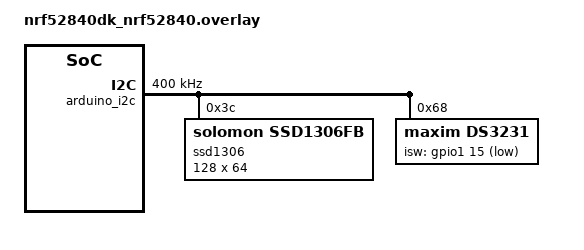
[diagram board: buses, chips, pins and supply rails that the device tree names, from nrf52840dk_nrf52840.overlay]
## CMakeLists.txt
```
# SPDX-License-Identifier: Apache-2.0

cmake_minimum_required(VERSION 3.20.0)

# This command is necessary to use the display SSD1306
set(SHIELD ssd1306_128x64)

find_package(Zephyr REQUIRED HINTS $ENV{ZEPHYR_BASE})
project(ble_watch)

# Global CMake variables are set here

# This is necessary for Sonarlint tools
# If enabled, generates a compile_commands.json file containing the exact compiler calls for all 
# translation units of the project in machine-readable form.
# Note: This option currently does not work well in combination with the UNITY_BUILD target 
# property or the CMAKE_UNITY_BUILD variable.
set(CMAKE_EXPORT_COMPILE_COMMANDS ON)

set (APP_SOURCES 
   src/app/src/device_information_service.c
   src/app/src/display_ssd1306.c
   src/app/src/gatt_central.c
   src/app/src/rtc_ds3231.c
)

target_sources(app PRIVATE 
   src/main.c
   ${APP_SOURCES}
)

target_include_directories(app PRIVATE
   src/app/inc
)
```

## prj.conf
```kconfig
# Enable GPIO
CONFIG_GPIO=y

# Enable the I2C driver
CONFIG_I2C=y

# Enable logs
CONFIG_LOG=y

# Enable timestamping feature
CONFIG_LOG_BACKEND_FORMAT_TIMESTAMP=y

# Enable coloring of logs
CONFIG_LOG_BACKEND_SHOW_COLOR=y

# configurations for SSD1306 display
CONFIG_SSD1306_REVERSE_MODE=y

CONFIG_LV_Z_MEM_POOL_NUMBER_BLOCKS=8

CONFIG_DISPLAY=y
CONFIG_DISPLAY_LOG_LEVEL_ERR=y

CONFIG_LVGL=y
CONFIG_LV_MEM_CUSTOM=y
CONFIG_LV_USE_LOG=y
CONFIG_LV_USE_LABEL=y
CONFIG_LV_USE_BTN=y
CONFIG_LV_USE_IMG=y
CONFIG_LV_FONT_MONTSERRAT_12=y
CONFIG_LV_FONT_MONTSERRAT_14=n

# Enable Bluetooth drivers
CONFIG_NCS_SAMPLES_DEFAULTS=y
CONFIG_BT=y
CONFIG_BT_PERIPHERAL=y
CONFIG_BT_DEVICE_NAME="BLE Watch"

# Enable Baterry Service
CONFIG_BT_BAS=y

# RTC DS3231
CONFIG_COUNTER=y
CONFIG_COUNTER_MAXIM_DS3231=y
CONFIG_COUNTER_INIT_PRIORITY=65

# Minimal libc doesn't have strftime()
CONFIG_NEWLIB_LIBC=y

# Optional step that syncs RTC and local clock.  Don't enable this if
# your RTC has already been synchronized and you want to keep its
# setting.
CONFIG_APP_SET_ALIGNED_CLOCK=y

# Device Information Service
CONFIG_BT_DIS=y
CONFIG_BT_DIS_PNP=n
CONFIG_BT_DIS_MODEL="BLE Watch Model V1"
CONFIG_BT_DIS_MANUF="Charles Dias"
CONFIG_BT_DIS_SERIAL_NUMBER=y
CONFIG_BT_DIS_FW_REV=y
CONFIG_BT_DIS_HW_REV=y
CONFIG_BT_DIS_SW_REV=y
CONFIG_BT_DIS_SERIAL_NUMBER_STR="Serial Number"
CONFIG_BT_DIS_FW_REV_STR="Firmware Revision"
CONFIG_BT_DIS_HW_REV_STR="Hardware Revision"
CONFIG_BT_DIS_SW_REV_STR="Software Revision"

# Below is setup to let DIS information be read from settings
CONFIG_BT_SETTINGS=y
CONFIG_SETTINGS_RUNTIME=y
CONFIG_SETTINGS=y
CONFIG_SETTINGS_NONE=y

CONFIG_BT_DIS_SETTINGS=y
CONFIG_BT_DIS_STR_MAX=21

# Some command handlers require a large stack.
CONFIG_SYSTEM_WORKQUEUE_STACK_SIZE=2304
CONFIG_MAIN_STACK_SIZE=2048
```

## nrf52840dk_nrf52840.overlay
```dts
// To get started, press Ctrl+Space to bring up the completion menu and view the available nodes.

// You can also use the buttons in the sidebar to perform actions on nodes.
// Actions currently available include:

// * Enabling / disabling the node
// * Adding the bus to a bus
// * Removing the node
// * Connecting ADC channels

// For more help, browse the DeviceTree documentation at https://docs.zephyrproject.org/latest/guides/dts/index.html
// You can also visit the nRF DeviceTree extension documentation at https://nrfconnect.github.io/vscode-nrf-connect/devicetree/nrfdevicetree.html

&arduino_i2c {
   compatible = "nordic,nrf-twim";
   status = "okay";
   clock-frequency = <I2C_BITRATE_FAST>;
   zephyr,concat-buf-size = <4096>;

   ssd1306: ssd1306@3c {
      compatible = "solomon,ssd1306fb";
      reg = <0x3c>; //0x3c is the i2c address of the SSD1306 aIC.
      width = <128>;
      height = <64>; // Change from '32' to '64' when using the 128x64 pixel version.
      segment-offset = <0>;
      page-offset = <0>;
      display-offset = <0>;
      multiplex-ratio = <63>; //change from '31' to '63' when using the 128x64 pixel version
      segment-remap;
      com-invdir;
      // com-sequential;
      prechargep = <0x22>;
   };

   ds3231: ds3231@68 {
      compatible = "maxim,ds3231";
      reg = <0x68>;
      isw-gpios = <&gpio1 15 (GPIO_PULL_UP | GPIO_ACTIVE_LOW)>;
   };
};
```

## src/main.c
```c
/*
 * Copyright (c) 2023 Charles Dias.
 *
 * SPDX-License-Identifier: Apache-2.0
 */

#include <zephyr/kernel.h>
#include <zephyr/logging/log.h>
#include <zephyr/drivers/gpio.h>
#include <stdio.h>
#include <stdlib.h>
#include <string.h>

#include "display_ssd1306.h"
#include "gatt_central.h"
#include "rtc_ds3231.h"

// Register module log name
LOG_MODULE_REGISTER(Main, LOG_LEVEL_DBG);

#define RTC_THREAD_STACK_SIZE 2048
#define DISPLAY_THREAD_STACK_SIZE 2048
#define RTC_THREAD_PRIORITY 7
#define DISPLAY_THREAD_PRIORITY 6

typedef struct rtc_msg
{
   uint8_t msg_buffer[RTC_MSG_BUFFER_SIZE];
} rtc_msg_t;

struct k_msgq rtc_msg_queue;

K_MSGQ_DEFINE(rtc_msg_queue, sizeof(rtc_msg_t), 2, 1);

// The devicetree node identifier for the "led0" alias.
#define LED0_NODE DT_ALIAS(led0)

#ifndef DT_NODE_HAS_STATUS(LED0_NODE, okay)
#error "Unsupported board: led0 devicetree not defined"
#endif

static const struct gpio_dt_spec led0 = GPIO_DT_SPEC_GET(LED0_NODE, gpios);

void rtc_thread(void)
{
   rtc_msg_t msg_buffer;

   rtc_ds3231_init();

   while (1)
   {
      const char *rtc_msg_time = rtc_ds3231_get_last_time();
      strncpy(msg_buffer.msg_buffer, rtc_msg_time, RTC_MSG_BUFFER_SIZE);

      while (k_msgq_put(&rtc_msg_queue, &msg_buffer, K_NO_WAIT) != 0)
      {
         /* message queue is full: purge old data & try again */
         k_msgq_purge(&rtc_msg_queue);
      }

      k_sleep(K_SECONDS(1));
   }
}

void display_thread(void)
{
   rtc_msg_t rtc_msg_buffer;
   display_msg_t display_msg_buffer;

   display_ssd1306_init();

   while (1)
   {
      // Handle RTC messages
      if (k_msgq_get(&rtc_msg_queue, &rtc_msg_buffer, K_NO_WAIT) == 0)
      {
         display_ssd1306_update_date_time(rtc_msg_buffer.msg_buffer);
      }

      // Handle messages from BLE work queue
      if (k_msgq_get(&display_msg_queue, &display_msg_buffer, K_NO_WAIT) == 0)
      {
         display_ssd1306_set_msg_string(display_msg_buffer.msg_buffer, (uint16_t)strlen(display_msg_buffer.msg_buffer));
      }

      display_ssd1306_run_handler();

      k_sleep(K_MSEC(250));
   }
}

K_THREAD_DEFINE(rtc_thread_id, RTC_THREAD_STACK_SIZE, rtc_thread, NULL, NULL, NULL, RTC_THREAD_PRIORITY, 0, 100);
K_THREAD_DEFINE(display_thread_id, DISPLAY_THREAD_STACK_SIZE, display_thread, NULL, NULL, NULL, DISPLAY_THREAD_PRIORITY, 0, 200);

int main(void)
{
   int err;

   LOG_INF("Running application on board: %s.", CONFIG_BOARD);
   LOG_INF("Build time: " __DATE__ " " __TIME__);
   k_sleep(K_SECONDS(2));

   if (!device_is_ready(led0.port))
   {
      LOG_ERR("Device %s is not ready.", led0.port->name);
      return EXIT_FAILURE;
   }

   LOG_DBG("Device %s is READY.", led0.port->name);

   err = gpio_pin_configure_dt(&led0, GPIO_OUTPUT_ACTIVE);
   if (err < 0)
   {
      LOG_ERR("It was not possible configure the device %s.", led0.port->name);
      return EXIT_FAILURE;
   }

   // Start advertising
   gatt_central_bt_start_advertising();

   while (1)
   {
      gpio_pin_toggle_dt(&led0);

      // Battery level simulation
      gatt_server_battery_level_notify();

      k_sleep(K_SECONDS(1));
   }

   return EXIT_SUCCESS;
}
```
